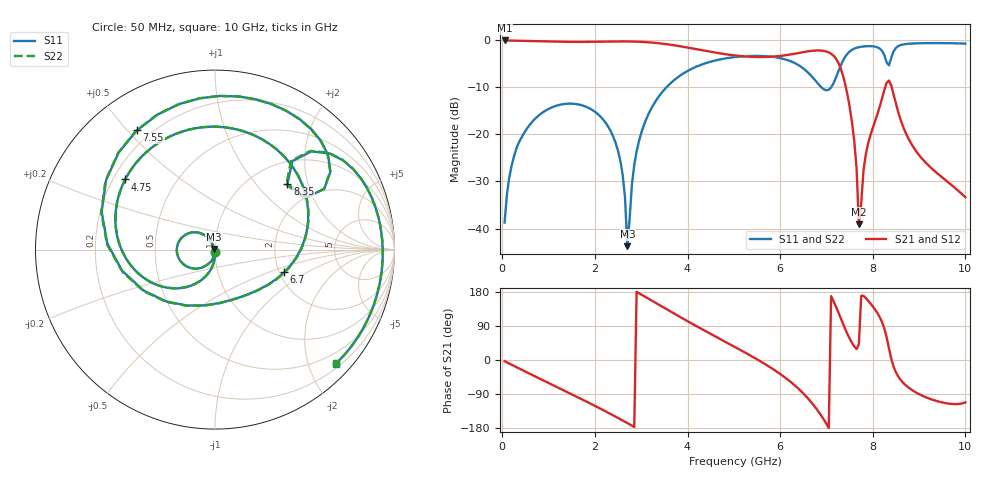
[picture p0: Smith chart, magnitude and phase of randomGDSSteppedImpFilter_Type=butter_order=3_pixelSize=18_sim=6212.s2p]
! freq	dB(S11)	phase(S11)	dB(S12)	phase(S12)
!  dB(S21)	phase(S21)	dB(S22)	phase(S22)
!S-par simulation data
#  GHz  S  DB  R 50
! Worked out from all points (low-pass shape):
!   200 points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, 50 MHz to 10 GHz, reference 50 ohm
!   highest |S21| = 0.00 dB at 50 MHz (marker M1); lowest = -39.1 dB at 7.7 GHz (marker M2)
!   |S21| within 3 dB of the highest: start of sweep to 4.871 GHz; 6.211 GHz to 7.123 GHz (911.8 MHz wide, 13.7 % of centre)
!   lowest |S11| = -43.8 dB at 2.7 GHz (marker M3), VSWR 1.01, Z = 49.4 + j0.312 ohm
!   |S11| at or under -10 dB: start of sweep to 3.542 GHz; 6.895 GHz to 7.1 GHz (205 MHz wide, 2.93 % of centre)
!   |S22| runs from -43.6 to -0.6 dB; largest |S21 - S12| = 0
!   S11 on the Smith chart (normalised r, x): 50 MHz: 1.00, -0.02; 4.75 GHz: 0.25, +0.33; 6.7 GHz: 2.12, -0.64; 7.55 GHz: 0.15, +0.53; 8.35 GHz: 1.45, +1.49; 10 GHz: 0.28, -2.48
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0.05  -38.72 -92.6  -0.00 -3.1  -0.00 -3.1  -38.72 -92.6
0.2  -26.71 -101.9  -0.03 -12.4  -0.03 -12.4  -26.71 -101.9
0.5  -19.23 -121.6  -0.10 -30.7  -0.10 -30.7  -19.23 -121.6
1.75  -13.90 164.0  -0.31 -105.6  -0.31 -105.6  -13.90 164.0
2.45  -21.88 121.7  -0.22 -149.7  -0.22 -149.7  -21.88 121.8
2.6  -28.62 115.0  -0.21 -159.7  -0.21 -159.7  -28.61 115.2
2.7  -43.76 150.9  -0.21 -166.4  -0.21 -166.4  -43.57 151.5
2.9  -23.64 -94.5  -0.26 179.8  -0.26 179.8  -23.64 -94.7
3.4  -11.66 -127.1  -0.62 144.6  -0.62 144.6  -11.66 -127.2
4.75  -3.94 142.0  -2.83 52.3  -2.83 52.3  -3.94 141.8
5.05  -3.51 122.5  -3.23 32.6  -3.23 32.6  -3.51 122.2
6  -3.76 54.7  -3.30 -36.8  -3.30 -36.8  -3.76 54.3
6.7  -7.84 -18.2  -2.19 -115.5  -2.19 -115.5  -7.85 -18.9
7  -10.60 -72.6  -2.36 -168.8  -2.36 -168.8  -10.59 -73.0
7.25  -6.76 -150.2  -4.62 127.8  -4.62 127.8  -6.75 -149.7
7.55  -2.00 123.2  -17.33 45.5  -17.33 45.5  -2.00 123.7
7.7  -1.44 95.6  -39.10 42.2  -39.10 42.2  -1.44 96.0
7.85  -1.23 74.6  -24.20 163.4  -24.20 163.4  -1.24 75.0
8.15  -1.71 39.9  -14.09 113.1  -14.09 113.1  -1.73 40.0
8.35  -5.30 42.0  -8.54 30.5  -8.54 30.5  -5.39 42.3
8.9  -0.63 8.8  -23.04 -83.3  -23.04 -83.3  -0.63 9.1
10  -0.67 -43.4  -33.34 -111.8  -33.34 -111.8  -0.67 -43.2
